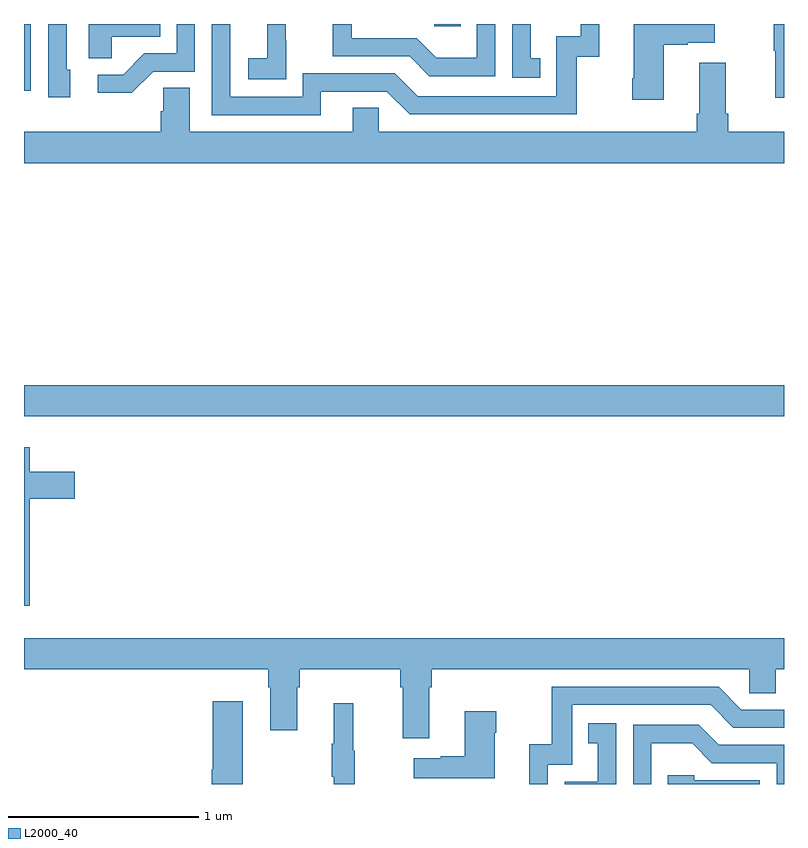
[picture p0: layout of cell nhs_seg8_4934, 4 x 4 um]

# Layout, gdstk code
import gdstk
lib = gdstk.Library(unit=1e-6, precision=1e-09)
def R(c, l, rs):  # rectangles x0, y0, x1, y1
    for r in rs: c.add(gdstk.rectangle(r[:2], r[2:], *l))
def P(c, l, *ps):  # polygons
    for p in ps: c.add(gdstk.Polygon(p, *l))
L2000_40 = (2000, 40)

nhs_seg8_4934 = lib.new_cell('nhs_seg8_4934')
R(nhs_seg8_4934, L2000_40, [(409,1113.836,413,1114), (409,1115.55,409.035,1115.9), (411.159,1115.889,411.299,1115.9)])
P(nhs_seg8_4934, L2000_40, [(411.716,1115.721),(411.667,1115.721),(411.667,1115.9),(411.57,1115.9),(411.57,1115.616),(411.716,1115.616)],
  [(410.379,1115.815),(410.378,1115.815),(410.378,1115.9),(410.279,1115.9),(410.279,1115.719),(410.181,1115.719),(410.181,1115.609),(410.379,1115.609)],
  [(410.563,1115.544),(410.91,1115.544),(411.03,1115.424),(411.91,1115.424),(411.91,1115.727),(412.028,1115.727),(412.028,1115.9),(411.93,1115.9),(411.93,1115.835),(411.801,1115.835),(411.801,1115.52),(411.072,1115.52),(410.952,1115.64),(410.466,1115.64),(410.466,1115.517),(410.085,1115.517),(410.085,1115.9),(409.989,1115.9),(409.989,1115.421),(410.563,1115.421)],
  [(409.243,1115.658),(409.224,1115.658),(409.224,1115.9),(409.128,1115.9),(409.128,1115.514),(409.243,1115.514)],
  [(412.366,1115.791),(412.493,1115.791),(412.493,1115.801),(412.636,1115.801),(412.636,1115.9),(412.208,1115.9),(412.208,1115.614),(412.201,1115.614),(412.201,1115.502),(412.366,1115.502)],
  [(411.48,1115.9),(411.384,1115.9),(411.384,1115.722),(411.17,1115.722),(411.066,1115.826),(410.724,1115.826),(410.724,1115.9),(410.626,1115.9),(410.626,1115.73),(411.029,1115.73),(411.134,1115.625),(411.48,1115.625)],
  [(409.461,1115.834),(409.718,1115.834),(409.718,1115.9),(409.34,1115.9),(409.34,1115.719),(409.461,1115.719)],
  [(413,1115.9),(412.947,1115.9),(412.947,1115.76),(412.954,1115.76),(412.954,1115.511),(413,1115.511)],
  [(409.68,1115.649),(409.899,1115.649),(409.899,1115.9),(409.803,1115.9),(409.803,1115.745),(409.634,1115.745),(409.523,1115.634),(409.389,1115.634),(409.389,1115.537),(409.567,1115.537)],
  [(413,1115.332),(412.706,1115.332),(412.706,1115.428),(412.693,1115.428),(412.693,1115.695),(412.553,1115.695),(412.553,1115.428),(412.541,1115.428),(412.541,1115.332),(410.868,1115.332),(410.868,1115.459),(410.729,1115.459),(410.729,1115.332),(409.873,1115.332),(409.873,1115.564),(409.734,1115.564),(409.734,1115.441),(409.721,1115.441),(409.721,1115.332),(409,1115.332),(409,1115.168),(413,1115.168)],
  [(409.031,1113.401),(409.267,1113.401),(409.267,1113.543),(409.031,1113.543),(409.031,1113.673),(409,1113.673),(409,1112.838),(409.031,1112.838)],
  [(411.133,1112.408),(411.146,1112.408),(411.146,1112.504),(412.818,1112.504),(412.818,1112.377),(412.957,1112.377),(412.957,1112.504),(413,1112.504),(413,1112.668),(409,1112.668),(409,1112.504),(410.285,1112.504),(410.285,1112.408),(410.297,1112.408),(410.297,1112.184),(410.437,1112.184),(410.437,1112.408),(410.45,1112.408),(410.45,1112.504),(410.981,1112.504),(410.981,1112.408),(410.993,1112.408),(410.993,1112.142),(411.133,1112.142)],
  [(411.756,1112.001),(411.885,1112.001),(411.885,1112.316),(412.614,1112.316),(412.734,1112.196),(413,1112.196),(413,1112.292),(412.776,1112.292),(412.656,1112.412),(411.777,1112.412),(411.777,1112.11),(411.659,1112.11),(411.659,1111.9),(411.756,1111.9)],
  [(410.152,1112.335),(409.994,1112.335),(409.994,1111.977),(409.988,1111.977),(409.988,1111.9),(410.152,1111.9)],
  [(410.74,1112.076),(410.732,1112.076),(410.732,1112.326),(410.63,1112.326),(410.63,1112.113),(410.619,1112.113),(410.619,1111.939),(410.63,1111.939),(410.63,1111.9),(410.74,1111.9)],
  [(411.478,1112.171),(411.486,1112.171),(411.486,1112.284),(411.32,1112.284),(411.32,1112.045),(411.194,1112.045),(411.194,1112.035),(411.051,1112.035),(411.051,1111.931),(411.478,1111.931)],
  [(412.116,1112.221),(411.97,1112.221),(411.97,1112.115),(412.019,1112.115),(412.019,1111.911),(411.846,1111.911),(411.846,1111.9),(412.116,1111.9)],
  [(412.302,1112.114),(412.516,1112.114),(412.62,1112.01),(412.962,1112.01),(412.962,1111.9),(413,1111.9),(413,1112.106),(412.657,1112.106),(412.552,1112.211),(412.206,1112.211),(412.206,1111.9),(412.302,1111.9)],
  [(412.872,1111.92),(412.527,1111.92),(412.527,1111.947),(412.387,1111.947),(412.387,1111.9),(412.872,1111.9)])

lib.write_gds('nhs_seg8_4934.gds')
